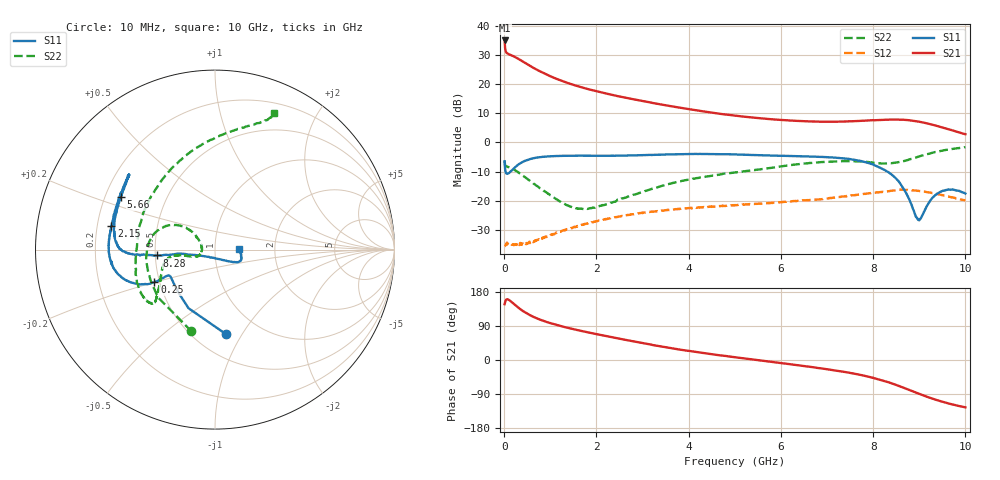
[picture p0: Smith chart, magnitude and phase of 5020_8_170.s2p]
# Hz S  dB  R 50
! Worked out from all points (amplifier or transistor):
!   1000 points, 10 MHz to 10 GHz, reference 50 ohm
!   highest |S21| = 34.9 dB at 10 MHz (marker M1)
!   |S21| within 3 dB of that: start of sweep to 25.25 MHz
!   unconditionally stable (mu >= 1): 63.7 MHz to end of sweep
!   at 1.67 GHz: K = 1.14, MAG = 21.3 dB, |S12| = -28.3 dB
!   at 5.01 GHz: K = 1.10, MAG = 13.4 dB, |S12| = -21.4 dB
!   at 10 GHz: K = 1.13, MAG = 9.1 dB, |S12| = -19.9 dB
!   S11 on the Smith chart (normalised r, x): 10 MHz: 0.70, -0.86; 250 MHz: 0.47, -0.20; 2.15 GHz: 0.26, +0.10; 5.66 GHz: 0.26, +0.24; 8.28 GHz: 0.51, -0.04; 10 GHz: 1.31, +0.01
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1e7  -6.43 -82.3  34.94 147.2  -35.53 30.6  -6.50 -106.2
7e7  -10.76 -148.7  30.50 160.3  -34.88 8.4  -8.31 -175.1
8e7  -10.69 -150.0  30.40 160.0  -34.62 7.5  -8.41 -177.7
1.2e8  -10.26 -151.4  30.12 157.1  -34.90 9.1  -8.61 174.7
2.5e8  -8.33 -151.7  29.15 143.7  -35.09 10.7  -9.66 159.6
3.6e8  -7.03 -154.3  28.16 133.2  -34.84 15.8  -10.81 151.8
5e8  -6.03 -158.5  26.82 122.3  -34.41 23.1  -12.43 145.8
6.3e8  -5.41 -162.5  25.61 114.1  -34.15 28.2  -13.96 142.6
7.7e8  -5.04 -166.2  24.42 106.8  -32.96 35.3  -15.58 142.2
9.3e8  -4.82 -169.8  23.19 100.1  -32.25 37.4  -17.28 143.5
1.13e9  -4.65 -174.1  21.82 92.6  -30.84 42.4  -19.45 148.7
1.38e9  -4.56 -178.8  20.37 84.8  -29.63 41.8  -21.64 159.3
1.68e9  -4.53 175.9  18.90 76.5  -28.18 41.9  -22.67 176.1
2.15e9  -4.56 167.3  16.98 64.5  -26.45 39.8  -21.46 -163.5
3.34e9  -4.21 146.2  13.19 37.0  -23.43 27.6  -15.28 -169.0
5.01e9  -4.11 142.2  9.19 7.2  -21.45 9.5  -10.27 -161.6
5.66e9  -4.42 150.9  8.13 -2.8  -20.90 4.0  -8.97 -149.3
6.67e9  -4.80 168.6  7.18 -18.6  -19.67 -6.8  -7.01 -138.8
8.28e9  -9.75 -174.2  7.78 -56.7  -16.81 -37.7  -7.24 170.2
8.34e9  -10.29 -174.0  7.81 -59.0  -16.68 -39.3  -7.12 164.8
8.98e9  -26.56 -106.7  7.16 -88.4  -16.56 -66.7  -4.87 101.6
1e10  -17.50 1.0  2.82 -125.0  -19.90 -100.1  -1.64 66.7
